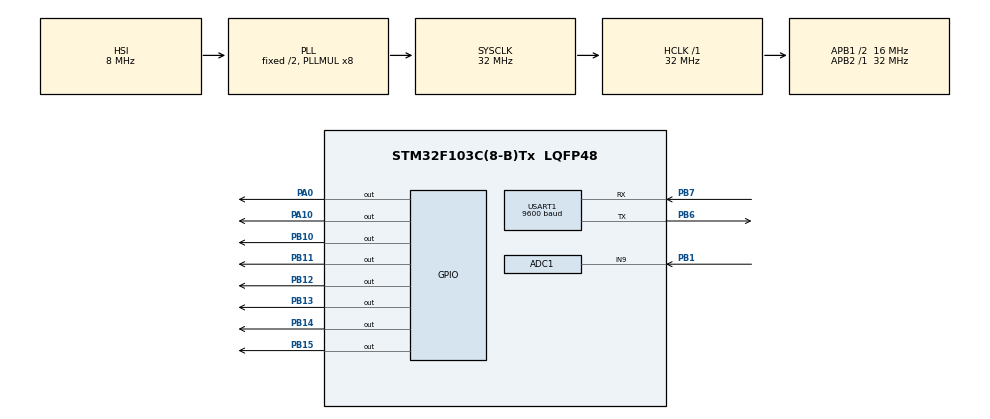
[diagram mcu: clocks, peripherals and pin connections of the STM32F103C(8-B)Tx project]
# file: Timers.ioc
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ADC1.Channel-7\#ChannelRegularConversion=ADC_CHANNEL_9
ADC1.NbrOfConversionFlag=1
ADC1.Rank-7\#ChannelRegularConversion=1
ADC1.SamplingTime-7\#ChannelRegularConversion=ADC_SAMPLETIME_55CYCLES_5
ADC1.master=1
Mcu.Family=STM32F1
Mcu.Name=STM32F103C(8-B)Tx
Mcu.Package=LQFP48
NVIC.ADC1_2_IRQn=true\:0\:0\:false\:false\:true\:true\:true\:true
NVIC.PriorityGroup=NVIC_PRIORITYGROUP_4
NVIC.TIM2_IRQn=true\:0\:0\:false\:false\:true\:true\:true\:true
NVIC.TIM3_IRQn=true\:0\:0\:false\:false\:true\:true\:true\:true
PA0-WKUP.Signal=GPIO_Output
PA10.Signal=GPIO_Output
PB1.Signal=ADCx_IN9
PB10.Signal=GPIO_Output
PB11.Signal=GPIO_Output
PB12.Signal=GPIO_Output
PB13.Signal=GPIO_Output
PB14.Signal=GPIO_Output
PB15.Signal=GPIO_Output
PB6.Mode=Asynchronous
PB6.Signal=USART1_TX
PB7.Mode=Asynchronous
PB7.Signal=USART1_RX
PD0-OSC_IN.Mode=HSE-External-Oscillator
PD0-OSC_IN.Signal=RCC_OSC_IN
PD1-OSC_OUT.Mode=HSE-External-Oscillator
PD1-OSC_OUT.Signal=RCC_OSC_OUT
ProjectManager.HeapSize=0x200
ProjectManager.StackSize=0x400
ProjectManager.TargetToolchain=STM32CubeIDE
RCC.ADCPresc=RCC_ADCPCLK2_DIV4
RCC.AHBFreq_Value=32000000
RCC.APB1CLKDivider=RCC_HCLK_DIV2
RCC.APB1Freq_Value=16000000
RCC.APB1TimFreq_Value=32000000
RCC.APB2Freq_Value=32000000
RCC.APB2TimFreq_Value=32000000
RCC.HCLKFreq_Value=32000000
RCC.PLLMUL=RCC_PLL_MUL8
RCC.SYSCLKFreq_VALUE=32000000
RCC.SYSCLKSource=RCC_SYSCLKSOURCE_PLLCLK
RCC.USBFreq_Value=32000000
SH.ADCx_IN9.0=ADC1_IN9,IN9
TIM2.Period=3000-1
TIM2.Prescaler=800-1
TIM3.Period=10000-1
TIM3.Prescaler=800-1
USART1.BaudRate=9600
USART1.VirtualMode=VM_ASYNC
VP_TIM2_VS_ClockSourceINT.Mode=Internal
VP_TIM3_VS_ClockSourceINT.Mode=Internal
board=custom

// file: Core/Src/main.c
/* USER CODE BEGIN Header */
/**
  ******************************************************************************
  * @file           : main.c
  * @brief          : Main program body
  ******************************************************************************
  * @attention
  *
  * Copyright (c) 2023 STMicroelectronics.
  * All rights reserved.
  *
  * This software is licensed under terms that can be found in the LICENSE file
  * in the root directory of this software component.
  * If no LICENSE file comes with this software, it is provided AS-IS.
  *
  ******************************************************************************
  */
/* USER CODE END Header */
#include "main.h"

/* USER CODE BEGIN Includes */
/*#include "ssd1306.h"
#include "fonts.h"
#include "test.h"
#include "bitmap.h"
#include "horse_anim.h"*/
#include "string.h"
#include "stdio.h"
#include "lcd_txt.h"
/* USER CODE END Includes */

ADC_HandleTypeDef hadc1;

TIM_HandleTypeDef htim2;
TIM_HandleTypeDef htim3;

UART_HandleTypeDef huart1;

void SystemClock_Config(void);
static void MX_GPIO_Init(void);
static void MX_TIM3_Init(void);
static void MX_TIM2_Init(void);
static void MX_ADC1_Init(void);
static void MX_USART1_UART_Init(void);

/* USER CODE BEGIN 0 */
uint16_t value_adc = 0;//4095; // adc_value
float volts = 0;
char msg[15], msg1[15];

/* USER CODE END 0 */

int main(void)
{

  /* MCU Configuration--------------------------------------------------------*/

  /* Reset of all peripherals, Initializes the Flash interface and the Systick. */
  HAL_Init();

  /* Configure the system clock */
  SystemClock_Config();

  /* Initialize all configured peripherals */
  MX_GPIO_Init();
  MX_TIM3_Init();
  MX_TIM2_Init();
  MX_ADC1_Init();
  MX_USART1_UART_Init();
  /* USER CODE BEGIN 2 */
  //HAL_TIM_Base_Start_IT(&htim2);
  //HAL_TIM_Base_Start_IT(&htim3);

  //ADC
  //HAL_ADCEx_Calibration_Start(&hadc1);
  HAL_ADC_Start_IT(&hadc1);

  //Oled display
  /*if (SSD1306_Init () == 0) {HAL_TIM_Base_Start_IT(&htim2);};
  SSD1306_GotoXY (8,0);
  SSD1306_Puts ("Hello!", &Font_11x18, 1);
  SSD1306_UpdateScreen();*/

  //LCD 16x2
  lcd_init();
  lcd_puts (0,0,(int8_t*)"ADC: ");
  lcd_puts (1,0,(int8_t*)"Volts: ");
  // Convert  value to string
  //sprintf(msg, "%d", value_adc);
  //lcd_puts(0,4, (int8_t*)msg );
  //HAL_Delay(500);

  /* USER CODE END 2 */

  /* Infinite loop */
  while (1)
  {

    /* USER CODE BEGIN 3 */
	  //HAL_GPIO_TogglePin(GPIOA, GPIO_PIN_0);
	  //HAL_GPIO_TogglePin(GPIOA, GPIO_PIN_10);
	  //HAL_Delay(100);
	  //lcd_clear();
	  HAL_ADC_Start_IT(&hadc1);
	  sprintf(msg, "%hu", value_adc);
	  lcd_puts(0,4, (int8_t*)msg ); ///
	  volts = ((float)value_adc)*3300/4096;
	  //sprintf(msg1, "%d", (uint16_t)(volts));
	  //lcd_puts(1,6, (int8_t*)msg1);

	  //sprintf(msg1, "%d", (uint16_t)(volts));
	  sprintf(msg1, "%d", (uint16_t)(volts)/100);
	  lcd_puts(1,6, (int8_t*)msg1);
	  lcd_puts(1,7, (int8_t*)".");
	  sprintf(msg1, "%d", (uint16_t)(volts)%100);
	  lcd_puts(1,8, (int8_t*)msg1);
  }
  /* USER CODE END 3 */
}

void SystemClock_Config(void)
{
  RCC_OscInitTypeDef RCC_OscInitStruct = {0};
  RCC_ClkInitTypeDef RCC_ClkInitStruct = {0};
  RCC_PeriphCLKInitTypeDef PeriphClkInit = {0};

  /** Initializes the RCC Oscillators according to the specified parameters
  * in the RCC_OscInitTypeDef structure.
  */
  RCC_OscInitStruct.OscillatorType = RCC_OSCILLATORTYPE_HSI;
  RCC_OscInitStruct.HSIState = RCC_HSI_ON;
  RCC_OscInitStruct.HSICalibrationValue = RCC_HSICALIBRATION_DEFAULT;
  RCC_OscInitStruct.PLL.PLLState = RCC_PLL_ON;
  RCC_OscInitStruct.PLL.PLLSource = RCC_PLLSOURCE_HSI_DIV2;
  RCC_OscInitStruct.PLL.PLLMUL = RCC_PLL_MUL8;
  if (HAL_RCC_OscConfig(&RCC_OscInitStruct) != HAL_OK)
  {
    Error_Handler();
  }

  /** Initializes the CPU, AHB and APB buses clocks
  */
  RCC_ClkInitStruct.ClockType = RCC_CLOCKTYPE_HCLK|RCC_CLOCKTYPE_SYSCLK
                              |RCC_CLOCKTYPE_PCLK1|RCC_CLOCKTYPE_PCLK2;
  RCC_ClkInitStruct.SYSCLKSource = RCC_SYSCLKSOURCE_PLLCLK;
  RCC_ClkInitStruct.AHBCLKDivider = RCC_SYSCLK_DIV1;
  RCC_ClkInitStruct.APB1CLKDivider = RCC_HCLK_DIV2;
  RCC_ClkInitStruct.APB2CLKDivider = RCC_HCLK_DIV1;

  if (HAL_RCC_ClockConfig(&RCC_ClkInitStruct, FLASH_LATENCY_1) != HAL_OK)
  {
    Error_Handler();
  }
  PeriphClkInit.PeriphClockSelection = RCC_PERIPHCLK_ADC;
  PeriphClkInit.AdcClockSelection = RCC_ADCPCLK2_DIV4;
  if (HAL_RCCEx_PeriphCLKConfig(&PeriphClkInit) != HAL_OK)
  {
    Error_Handler();
  }
}

static void MX_ADC1_Init(void)
{

  ADC_ChannelConfTypeDef sConfig = {0};

  /** Common config
  */
  hadc1.Instance = ADC1;
  hadc1.Init.ScanConvMode = ADC_SCAN_DISABLE;
  hadc1.Init.ContinuousConvMode = DISABLE;
  hadc1.Init.DiscontinuousConvMode = DISABLE;
  hadc1.Init.ExternalTrigConv = ADC_SOFTWARE_START;
  hadc1.Init.DataAlign = ADC_DATAALIGN_RIGHT;
  hadc1.Init.NbrOfConversion = 1;
  if (HAL_ADC_Init(&hadc1) != HAL_OK)
  {
    Error_Handler();
  }

  /** Configure Regular Channel
  */
  sConfig.Channel = ADC_CHANNEL_9;
  sConfig.Rank = ADC_REGULAR_RANK_1;
  sConfig.SamplingTime = ADC_SAMPLETIME_55CYCLES_5;
  if (HAL_ADC_ConfigChannel(&hadc1, &sConfig) != HAL_OK)
  {
    Error_Handler();
  }

}

static void MX_TIM2_Init(void)
{

  TIM_ClockConfigTypeDef sClockSourceConfig = {0};
  TIM_MasterConfigTypeDef sMasterConfig = {0};

  htim2.Instance = TIM2;
  htim2.Init.Prescaler = 800-1;
  htim2.Init.CounterMode = TIM_COUNTERMODE_UP;
  htim2.Init.Period = 3000-1;
  htim2.Init.ClockDivision = TIM_CLOCKDIVISION_DIV1;
  htim2.Init.AutoReloadPreload = TIM_AUTORELOAD_PRELOAD_DISABLE;
  if (HAL_TIM_Base_Init(&htim2) != HAL_OK)
  {
    Error_Handler();
  }
  sClockSourceConfig.ClockSource = TIM_CLOCKSOURCE_INTERNAL;
  if (HAL_TIM_ConfigClockSource(&htim2, &sClockSourceConfig) != HAL_OK)
  {
    Error_Handler();
  }
  sMasterConfig.MasterOutputTrigger = TIM_TRGO_RESET;
  sMasterConfig.MasterSlaveMode = TIM_MASTERSLAVEMODE_DISABLE;
  if (HAL_TIMEx_MasterConfigSynchronization(&htim2, &sMasterConfig) != HAL_OK)
  {
    Error_Handler();
  }

}

static void MX_TIM3_Init(void)
{

  TIM_ClockConfigTypeDef sClockSourceConfig = {0};
  TIM_MasterConfigTypeDef sMasterConfig = {0};

  htim3.Instance = TIM3;
  htim3.Init.Prescaler = 800-1;
  htim3.Init.CounterMode = TIM_COUNTERMODE_UP;
  htim3.Init.Period = 10000-1;
  htim3.Init.ClockDivision = TIM_CLOCKDIVISION_DIV1;
  htim3.Init.AutoReloadPreload = TIM_AUTORELOAD_PRELOAD_DISABLE;
  if (HAL_TIM_Base_Init(&htim3) != HAL_OK)
  {
    Error_Handler();
  }
  sClockSourceConfig.ClockSource = TIM_CLOCKSOURCE_INTERNAL;
  if (HAL_TIM_ConfigClockSource(&htim3, &sClockSourceConfig) != HAL_OK)
  {
    Error_Handler();
  }
  sMasterConfig.MasterOutputTrigger = TIM_TRGO_RESET;
  sMasterConfig.MasterSlaveMode = TIM_MASTERSLAVEMODE_DISABLE;
  if (HAL_TIMEx_MasterConfigSynchronization(&htim3, &sMasterConfig) != HAL_OK)
  {
    Error_Handler();
  }

}

static void MX_USART1_UART_Init(void)
{

  huart1.Instance = USART1;
  huart1.Init.BaudRate = 9600;
  huart1.Init.WordLength = UART_WORDLENGTH_8B;
  huart1.Init.StopBits = UART_STOPBITS_1;
  huart1.Init.Parity = UART_PARITY_NONE;
  huart1.Init.Mode = UART_MODE_TX_RX;
  huart1.Init.HwFlowCtl = UART_HWCONTROL_NONE;
  huart1.Init.OverSampling = UART_OVERSAMPLING_16;
  if (HAL_UART_Init(&huart1) != HAL_OK)
  {
    Error_Handler();
  }

}

static void MX_GPIO_Init(void)
{
  GPIO_InitTypeDef GPIO_InitStruct = {0};

  /* GPIO Ports Clock Enable */
  __HAL_RCC_GPIOD_CLK_ENABLE();
  __HAL_RCC_GPIOA_CLK_ENABLE();
  __HAL_RCC_GPIOB_CLK_ENABLE();

  /*Configure GPIO pin Output Level */
  HAL_GPIO_WritePin(GPIOA, GPIO_PIN_0|GPIO_PIN_10, GPIO_PIN_RESET);

  /*Configure GPIO pin Output Level */
  HAL_GPIO_WritePin(GPIOB, GPIO_PIN_10|GPIO_PIN_11|GPIO_PIN_12|GPIO_PIN_13
                          |GPIO_PIN_14|GPIO_PIN_15, GPIO_PIN_RESET);

  /*Configure GPIO pins : PA0 PA10 */
  GPIO_InitStruct.Pin = GPIO_PIN_0|GPIO_PIN_10;
  GPIO_InitStruct.Mode = GPIO_MODE_OUTPUT_PP;
  GPIO_InitStruct.Pull = GPIO_NOPULL;
  GPIO_InitStruct.Speed = GPIO_SPEED_FREQ_LOW;
  HAL_GPIO_Init(GPIOA, &GPIO_InitStruct);

  /*Configure GPIO pins : PB10 PB11 PB12 PB13
                           PB14 PB15 */
  GPIO_InitStruct.Pin = GPIO_PIN_10|GPIO_PIN_11|GPIO_PIN_12|GPIO_PIN_13
                          |GPIO_PIN_14|GPIO_PIN_15;
  GPIO_InitStruct.Mode = GPIO_MODE_OUTPUT_PP;
  GPIO_InitStruct.Pull = GPIO_NOPULL;
  GPIO_InitStruct.Speed = GPIO_SPEED_FREQ_LOW;
  HAL_GPIO_Init(GPIOB, &GPIO_InitStruct);

}

/* USER CODE BEGIN 4 */
//Timers
void HAL_TIM_PeriodElapsedCallback(TIM_HandleTypeDef *htim)
{
  // Check which version of the timer triggered this callback and toggle LED
  if (htim == &htim3)
  {
    HAL_GPIO_TogglePin(GPIOA, GPIO_PIN_10);
    //value_adc--;
  }
  else if (htim == &htim2)
  {
	HAL_GPIO_TogglePin(GPIOA, GPIO_PIN_0);
  }
}

//ADC
void HAL_ADC_ConvCpltCallback(ADC_HandleTypeDef* hadc)
{
	value_adc = HAL_ADC_GetValue(&hadc1);
	sprintf(msg, "rawValue: %d\r\n", value_adc);
	HAL_UART_Transmit(&huart1, (uint8_t*) msg, strlen(msg), HAL_MAX_DELAY);
	//value_adc++;
	//value_adc = 2047;

}

/* USER CODE END 4 */

void Error_Handler(void)
{
  __disable_irq();
  while (1)
  {
  }
}
